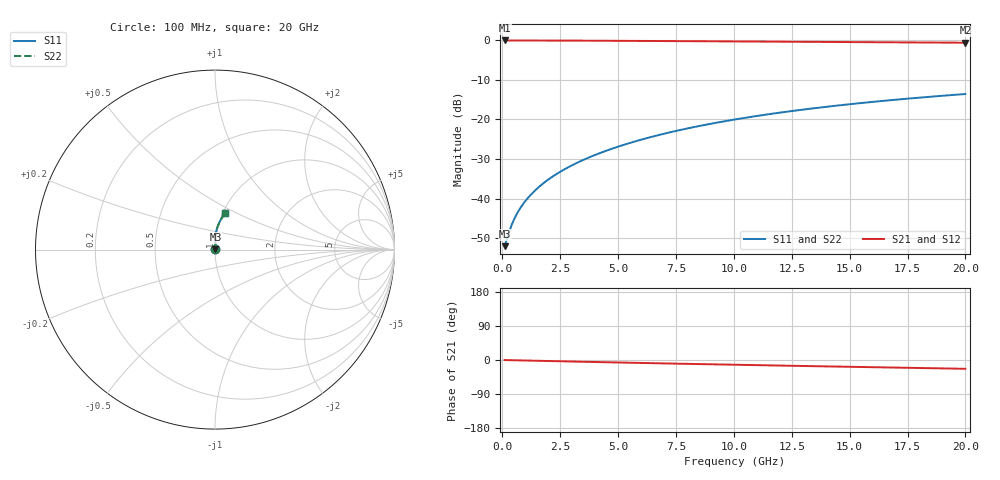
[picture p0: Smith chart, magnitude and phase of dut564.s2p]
! Touchstone file exported from HFSS 2024.1.0
!  File:  C:/UserFiles/LocalFiles/RDL_TSV_Batchsim/temp_RDL_top_564_1779681443.aedt
!  Generated:  11:59:31 AM May 25, 2026
!  Design:  RDL_top
!  Project:  temp_RDL_top_564_1779681443
!  Setup:  Setup1
!  Solution:  Sweep
! Variables:
!  dtsv = 10.80580581um
!  hbump = 3um
!  htsv = 94.98um
!  ldown = 100um
!  lrdl = 325.25um
!  p = 40
!  p1 = 43.99um
!  rhole = 1um
!  t = 450um
!  tdown = 3.915915916um
!  trdl = 2.41um
!  wdown = 15.38538539um
!  wrdl = 24.63um
# GHz S MA R 50.000000
! Terminal data exported
! Port[1] = Box2_T1
! Port[2] = Box2_T2
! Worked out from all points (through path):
!   200 points, 100 MHz to 20 GHz, reference 50 ohm
!   highest |S21| = -0.02 dB at 100 MHz (marker M1); lowest = -0.6 dB at 20 GHz (marker M2)
!   group delay of S21, straight-line fit = 3.19 ps
!   lowest |S11| = -52.1 dB at 100 MHz (marker M3), VSWR 1.01, Z = 50.2 + j0.101 ohm
!   |S11| at or under -10 dB: start of sweep to end of sweep
!   |S22| runs from -52.1 to -13.6 dB; largest |S21 - S12| = 4.1e-15
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0.1  0.002495 23.6  0.9977 -0.1  0.9977 -0.1  0.002495 23.6
! Gamma 0 0 0 0
! Port Impedance 50 0 50 0
0.3  0.003807 50.1  0.9975 -0.4  0.9975 -0.4  0.003807 50.1
0.4  0.00459 56.4  0.9974 -0.6  0.9974 -0.6  0.00459 56.4
0.5  0.005382 60.8  0.9972 -0.7  0.9972 -0.7  0.005383 60.8
0.6  0.006172 64.0  0.9971 -0.8  0.9971 -0.8  0.006173 64.0
0.7  0.006957 66.6  0.997 -1.0  0.997 -1.0  0.006959 66.6
0.9  0.008527 70.6  0.9967 -1.2  0.9967 -1.2  0.008529 70.6
1.2  0.0109 74.8  0.9963 -1.6  0.9963 -1.6  0.01091 74.8
1.7  0.01497 79.5  0.9957 -2.3  0.9957 -2.3  0.01498 79.5
2.2  0.01919 82.4  0.9948 -3.0  0.9948 -3.0  0.01919 82.4
2.8  0.02442 84.8  0.9936 -3.8  0.9936 -3.8  0.02442 84.8
3.5  0.03078 86.5  0.992 -4.7  0.992 -4.7  0.03078 86.5
4.2  0.03739 87.7  0.99 -5.6  0.99 -5.6  0.03739 87.7
5  0.04526 88.4  0.9876 -6.6  0.9876 -6.6  0.04526 88.4
5.9  0.05446 88.7  0.9846 -7.7  0.9846 -7.7  0.05445 88.7
6.8  0.06397 88.6  0.9815 -8.8  0.9815 -8.8  0.06396 88.6
8.4  0.08146 87.8  0.9757 -10.7  0.9757 -10.7  0.08145 87.7
10.1  0.1005 86.2  0.9695 -12.6  0.9695 -12.6  0.1005 86.2
11.7  0.1187 84.5  0.9636 -14.4  0.9636 -14.4  0.1186 84.5
13.4  0.1379 82.5  0.9575 -16.2  0.9575 -16.2  0.1379 82.5
16.7  0.1745 78.5  0.9458 -19.8  0.9458 -19.8  0.1745 78.4
20  0.2098 74.4  0.9342 -23.2  0.9342 -23.2  0.2097 74.4
